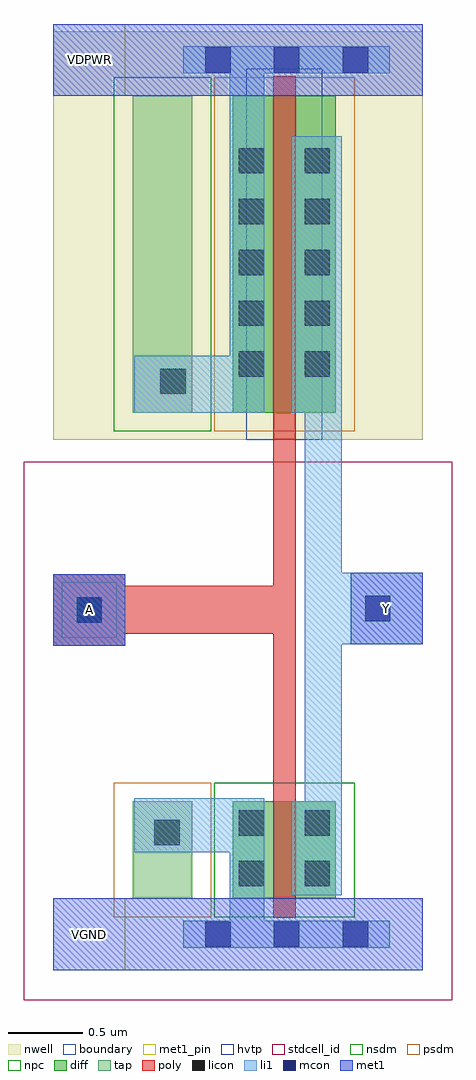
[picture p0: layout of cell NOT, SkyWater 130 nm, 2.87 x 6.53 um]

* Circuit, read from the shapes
.subckt NOT A VDPWR VGND Y
XM1 Y A VGND VGND sky130_fd_pr__nfet_01v8 w=0.65 l=0.15
XM2 Y A VDPWR VDPWR sky130_fd_pr__pfet_01v8_hvt w=2.12 l=0.15
.ends

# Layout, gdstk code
import gdstk
lib = gdstk.Library(unit=1e-6, precision=1e-09)
def R(c, l, rs):  # rectangles x0, y0, x1, y1
    for r in rs: c.add(gdstk.rectangle(r[:2], r[2:], *l))
def A(c, l, x, y, w, h, nx, ny, dx, dy):  # array of equal rectangles
    R(c, l, [(x+i*dx, y+j*dy, x+i*dx+w, y+j*dy+h) for i in range(nx) for j in range(ny)])
nwell = (64, 20)
diff = (65, 20)
tap = (65, 44)
poly = (66, 20)
licon = (66, 44)
li1 = (67, 20)
mcon = (67, 44)
met1_pin = (68, 16)
met1 = (68, 20)
hvtp = (78, 44)
stdcell_id = (81, 4)
nsdm = (93, 44)
psdm = (94, 20)
npc = (95, 20)
boundary = (235, 4)

not_ = lib.new_cell('NOT')
R(not_, nwell, [(-0.87,3.31,1.6,6.04)])
R(not_, diff, [(0.33,0.24,1.02,0.89), (0.33,3.49,1.02,5.61)])
R(not_, tap, [(-0.34,0.24,0.06,0.89), (-0.34,3.49,0.06,5.61)])
R(not_, poly, [(0.6,0.11,0.75,2.01), (-0.87,1.93,-0.39,2.01), (-0.87,2.01,0.75,2.33), (-0.87,2.33,-0.39,2.41), (0.6,2.33,0.75,5.74)])
A(not_, licon, 0.37, 3.73, 0.17, 0.17, 1, 5, 0, 0.34)
A(not_, licon, 0.81, 3.73, 0.17, 0.17, 1, 5, 0, 0.34)
R(not_, licon, [(0.37,0.32,0.54,0.49), (0.81,0.32,0.98,0.49), (-0.195,0.595,-0.025,0.765), (0.37,0.66,0.54,0.83), (0.81,0.66,0.98,0.83), (-0.715,2.085,-0.545,2.255), (-0.155,3.615,0.015,3.785)])
R(not_, li1, [(0,-0.09,1.38,0.09), (0.31,0.09,0.54,0.55), (0.72,0.26,1.06,0.89), (-0.33,0.55,0.54,0.91), (0.81,0.89,1.06,1.94), (-0.87,1.93,-0.39,2.41), (0.81,1.94,1.6,2.42), (0.81,2.42,1.06,3.49), (-0.33,3.49,0.54,3.87), (0.72,3.49,1.06,5.34), (0.31,3.87,0.54,5.76), (0,5.76,1.38,5.94)])
A(not_, mcon, 0.145, -0.085, 0.17, 0.17, 3, 2, 0.46, 5.85)
R(not_, mcon, [(-0.715,2.085,-0.545,2.255), (1.215,2.095,1.385,2.265)])
R(not_, met1_pin, [(-0.87,-0.24,-0.39,0.24), (-0.87,1.93,-0.39,2.41), (1.12,1.94,1.6,2.42), (-0.87,5.61,-0.39,6.09)])
R(not_, met1, [(-0.87,-0.24,1.6,0.24), (-0.87,1.93,-0.39,2.41), (1.12,1.94,1.6,2.42), (-0.87,5.61,1.6,6.09)])
R(not_, hvtp, [(0.42,3.31,0.93,5.79)])
R(not_, stdcell_id, [(-1.07,-0.44,1.8,3.16)])
R(not_, nsdm, [(0.205,0.115,1.145,1.015), (-0.465,3.365,0.185,5.735)])
R(not_, psdm, [(-0.465,0.115,0.185,1.015), (0.205,3.365,1.145,5.735)])
R(not_, npc, [(-0.815,1.985,-0.445,2.355)])
R(not_, boundary, [(-1.07,-0.44,1.8,3.16)])
not_.add(gdstk.Label('VGND', (-0.63,0), layer=68, texttype=5))
not_.add(gdstk.Label('VDPWR', (-0.63,5.85), layer=68, texttype=5))
not_.add(gdstk.Label('A', (-0.63,2.17), layer=68, texttype=5))
not_.add(gdstk.Label('Y', (1.36,2.18), layer=68, texttype=5))

lib.write_gds('NOT.gds')
